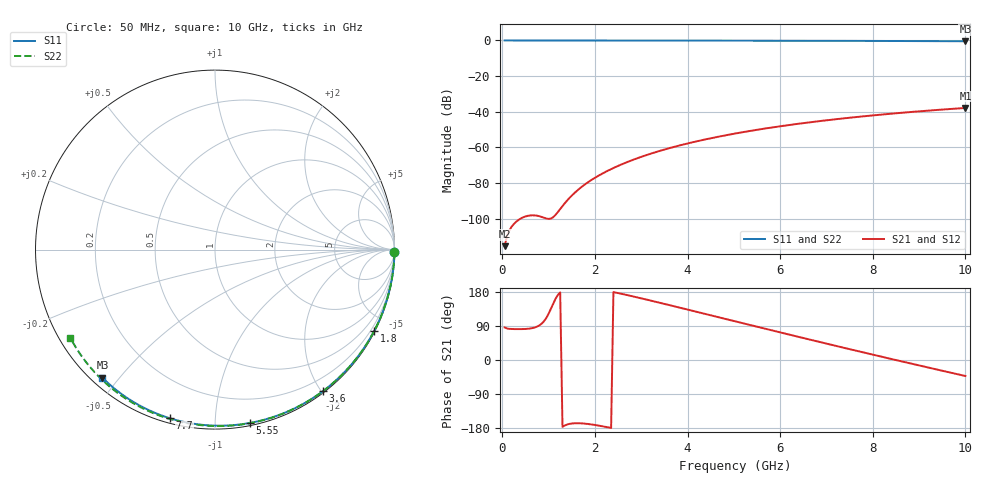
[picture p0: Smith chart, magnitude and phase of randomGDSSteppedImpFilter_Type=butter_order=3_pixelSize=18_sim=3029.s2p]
! freq	dB(S11)	phase(S11)	dB(S12)	phase(S12)
!  dB(S21)	phase(S21)	dB(S22)	phase(S22)
!S-par simulation data
#  GHz  S  DB  R 50
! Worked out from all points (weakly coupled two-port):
!   200 points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, 50 MHz to 10 GHz, reference 50 ohm
!   highest |S21| = -37.83 dB at 10 GHz (marker M1); lowest = -115.3 dB at 50 MHz (marker M2)
!   lowest |S11| = -0.4 dB at 10 GHz (marker M3), VSWR 39.12, Z = 1.54 - j22.6 ohm
!   |S11| at or under -10 dB: nowhere
!   |S22| runs from -0.5 to 0.0 dB; largest |S21 - S12| = 0
!   S11 on the Smith chart (normalised r, x): 50 MHz: open; 1.8 GHz: 0.04, -4.18; 3.6 GHz: 0.02, -2.02; 5.55 GHz: 0.02, -1.22; 7.7 GHz: 0.02, -0.77; 10 GHz: 0.03, -0.45
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0.05  -0.00 -0.8  -115.32 85.8  -115.32 85.8  -0.00 -0.9
0.45  -0.01 -6.8  -99.15 81.6  -99.15 81.6  -0.01 -7.8
0.9  -0.02 -13.6  -99.37 102.3  -99.37 102.3  -0.02 -15.4
1.3  -0.02 -19.5  -92.82 -176.3  -92.82 -176.3  -0.03 -22.2
1.75  -0.03 -26.2  -81.36 -167.5  -81.36 -167.5  -0.04 -29.7
1.8  -0.03 -26.9  -80.41 -168.1  -80.41 -168.1  -0.04 -30.6
1.85  -0.04 -27.6  -79.50 -168.8  -79.50 -168.8  -0.04 -31.4
2.05  -0.04 -30.6  -76.22 -172.5  -76.22 -172.5  -0.04 -34.7
2.2  -0.04 -32.8  -74.07 -175.8  -74.07 -175.8  -0.05 -37.2
2.55  -0.05 -37.8  -69.76 175.3  -69.76 175.3  -0.05 -42.9
2.95  -0.06 -43.5  -65.70 164.2  -65.70 164.2  -0.06 -49.3
3.4  -0.07 -49.8  -61.91 151.1  -61.91 151.1  -0.07 -56.5
3.6  -0.07 -52.6  -60.43 145.1  -60.43 145.1  -0.08 -59.6
4.3  -0.09 -62.2  -55.95 124.1  -55.95 124.1  -0.10 -70.3
5.05  -0.11 -72.1  -52.07 101.4  -52.07 101.4  -0.12 -81.5
5.55  -0.13 -78.6  -49.87 86.3  -49.87 86.3  -0.15 -88.7
6.1  -0.15 -85.6  -47.74 69.9  -47.74 69.9  -0.17 -96.5
6.7  -0.18 -93.0  -45.69 52.0  -45.69 52.0  -0.20 -104.8
7.7  -0.24 -105.0  -42.78 22.8  -42.78 22.8  -0.27 -118.3
8.35  -0.29 -112.5  -41.17 4.1  -41.17 4.1  -0.33 -127.0
9.2  -0.36 -122.3  -39.33 -20.0  -39.33 -20.0  -0.41 -138.2
10  -0.44 -131.3  -37.83 -42.3  -37.83 -42.3  -0.50 -148.7
